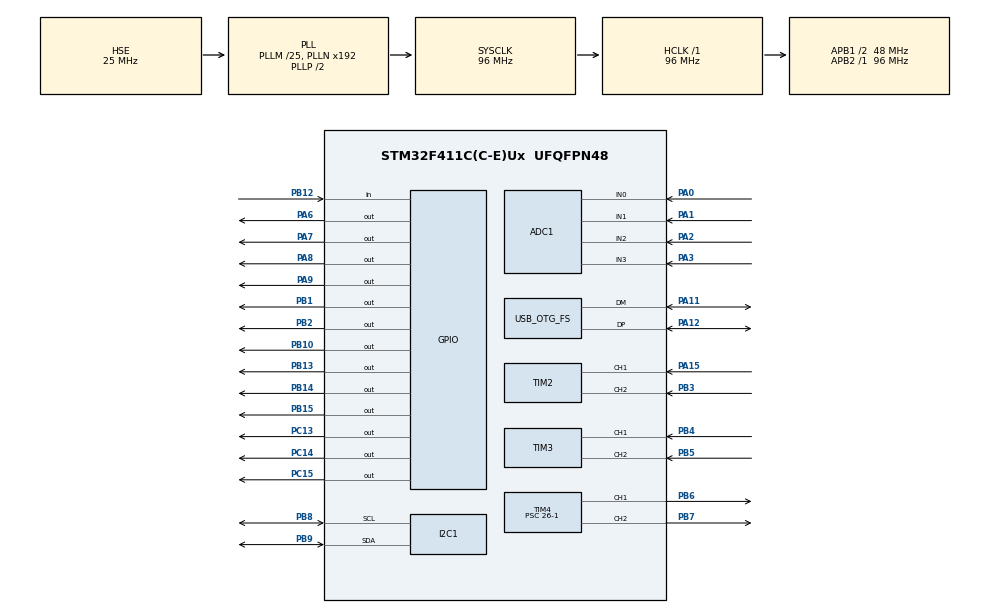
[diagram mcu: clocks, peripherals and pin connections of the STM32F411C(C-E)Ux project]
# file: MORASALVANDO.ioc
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ADC1.Channel-0\#ChannelRegularConversion=ADC_CHANNEL_0
ADC1.Channel-5\#ChannelRegularConversion=ADC_CHANNEL_1
ADC1.Channel-6\#ChannelRegularConversion=ADC_CHANNEL_2
ADC1.Channel-7\#ChannelRegularConversion=ADC_CHANNEL_3
ADC1.ContinuousConvMode=ENABLE
ADC1.InjNumberOfConversion=0
ADC1.NbrOfConversion=4
ADC1.NbrOfConversionFlag=1
ADC1.Rank-0\#ChannelRegularConversion=1
ADC1.Rank-5\#ChannelRegularConversion=2
ADC1.Rank-6\#ChannelRegularConversion=3
ADC1.Rank-7\#ChannelRegularConversion=4
ADC1.SamplingTime-0\#ChannelRegularConversion=ADC_SAMPLETIME_3CYCLES
ADC1.SamplingTime-5\#ChannelRegularConversion=ADC_SAMPLETIME_3CYCLES
ADC1.SamplingTime-6\#ChannelRegularConversion=ADC_SAMPLETIME_3CYCLES
ADC1.SamplingTime-7\#ChannelRegularConversion=ADC_SAMPLETIME_3CYCLES
ADC1.ScanConvMode=ENABLE
ADC1.master=1
Dma.ADC1.0.Direction=DMA_PERIPH_TO_MEMORY
Dma.ADC1.0.FIFOMode=DMA_FIFOMODE_DISABLE
Dma.ADC1.0.Instance=DMA2_Stream0
Dma.ADC1.0.MemDataAlignment=DMA_MDATAALIGN_HALFWORD
Dma.ADC1.0.MemInc=DMA_MINC_ENABLE
Dma.ADC1.0.Mode=DMA_CIRCULAR
Dma.ADC1.0.PeriphDataAlignment=DMA_PDATAALIGN_HALFWORD
Dma.ADC1.0.PeriphInc=DMA_PINC_DISABLE
Dma.ADC1.0.Priority=DMA_PRIORITY_HIGH
Dma.Request0=ADC1
I2C1.I2C_Mode=I2C_Fast
Mcu.Family=STM32F4
Mcu.Name=STM32F411C(C-E)Ux
Mcu.Package=UFQFPN48
Mcu.UserConstants=TIMX,TIM9
NVIC.DMA2_Stream0_IRQn=true\:0\:0\:false\:false\:true\:false\:true\:true
NVIC.OTG_FS_IRQn=true\:0\:0\:false\:false\:true\:true\:true\:true
NVIC.PriorityGroup=NVIC_PRIORITYGROUP_4
NVIC.TIM1_TRG_COM_TIM11_IRQn=true\:0\:0\:false\:false\:true\:true\:true\:true
NVIC.TIM1_UP_TIM10_IRQn=true\:0\:0\:false\:false\:true\:true\:true\:true
PA0-WKUP.Signal=ADCx_IN0
PA1.Signal=ADCx_IN1
PA11.Mode=Device_Only
PA11.Signal=USB_OTG_FS_DM
PA12.Mode=Device_Only
PA12.Signal=USB_OTG_FS_DP
PA13.Mode=Serial_Wire
PA13.Signal=SYS_JTMS-SWDIO
PA14.Mode=Serial_Wire
PA14.Signal=SYS_JTCK-SWCLK
PA15.Signal=S_TIM2_CH1_ETR
PA2.Signal=ADCx_IN2
PA3.Signal=ADCx_IN3
PA6.Signal=GPIO_Output
PA7.Signal=GPIO_Output
PA8.Signal=GPIO_Output
PA9.Signal=GPIO_Output
PB1.Signal=GPIO_Output
PB10.Signal=GPIO_Output
PB12.Signal=GPIO_Input
PB13.Signal=GPIO_Output
PB14.Signal=GPIO_Output
PB15.Signal=GPIO_Output
PB2.Signal=GPIO_Output
PB3.Signal=S_TIM2_CH2
PB4.Signal=S_TIM3_CH1
PB5.Signal=S_TIM3_CH2
PB6.Signal=S_TIM4_CH1
PB7.Signal=S_TIM4_CH2
PB8.Mode=I2C
PB8.Signal=I2C1_SCL
PB9.Mode=I2C
PB9.Signal=I2C1_SDA
PC13-ANTI_TAMP.Signal=GPIO_Output
PC14-OSC32_IN.Signal=GPIO_Output
PC15-OSC32_OUT.Signal=GPIO_Output
PH0\ -\ OSC_IN.Mode=HSE-External-Oscillator
PH0\ -\ OSC_IN.Signal=RCC_OSC_IN
PH1\ -\ OSC_OUT.Mode=HSE-External-Oscillator
PH1\ -\ OSC_OUT.Signal=RCC_OSC_OUT
ProjectManager.HeapSize=0x200
ProjectManager.StackSize=0x400
ProjectManager.TargetToolchain=STM32CubeIDE
RCC.48MHZClocksFreq_Value=48000000
RCC.AHBFreq_Value=96000000
RCC.APB1CLKDivider=RCC_HCLK_DIV2
RCC.APB1Freq_Value=48000000
RCC.APB1TimFreq_Value=96000000
RCC.APB2Freq_Value=96000000
RCC.APB2TimFreq_Value=96000000
RCC.CortexFreq_Value=96000000
RCC.HCLKFreq_Value=96000000
RCC.HSE_VALUE=25000000
RCC.HSI_VALUE=16000000
RCC.LSE_VALUE=32768
RCC.PLLM=25
RCC.SYSCLKFreq_VALUE=96000000
RCC.SYSCLKSource=RCC_SYSCLKSOURCE_PLLCLK
RCC.VCOOutputFreq_Value=192000000
SH.ADCx_IN0.0=ADC1_IN0,IN0
SH.ADCx_IN1.0=ADC1_IN1,IN1
SH.ADCx_IN2.0=ADC1_IN2,IN2
SH.ADCx_IN3.0=ADC1_IN3,IN3
SH.S_TIM2_CH1_ETR.0=TIM2_CH1,Encoder_Interface
SH.S_TIM2_CH2.0=TIM2_CH2,Encoder_Interface
SH.S_TIM3_CH1.0=TIM3_CH1,Encoder_Interface
SH.S_TIM3_CH2.0=TIM3_CH2,Encoder_Interface
SH.S_TIM4_CH1.0=TIM4_CH1,PWM Generation1 CH1
SH.S_TIM4_CH2.0=TIM4_CH2,PWM Generation2 CH2
TIM1.Prescaler=9600-1
TIM10.Prescaler=96-1
TIM11.Period=1000-1
TIM11.Prescaler=96-1
TIM2.EncoderMode=TIM_ENCODERMODE_TI12
TIM2.IC1Filter=15
TIM2.IC1Polarity=TIM_ICPOLARITY_FALLING
TIM2.IC2Filter=15
TIM2.IC2Polarity=TIM_ICPOLARITY_FALLING
TIM3.EncoderMode=TIM_ENCODERMODE_TI12
TIM3.IC1Filter=15
TIM3.IC1Polarity=TIM_ICPOLARITY_FALLING
TIM3.IC2Filter=15
TIM3.IC2Polarity=TIM_ICPOLARITY_FALLING
TIM4.Channel-PWM\ Generation1\ CH1=TIM_CHANNEL_1
TIM4.Channel-PWM\ Generation2\ CH2=TIM_CHANNEL_2
TIM4.Period=100-1
TIM4.Prescaler=26-1
TIM9.Prescaler=96-1
USB_DEVICE.CLASS_NAME_FS=CDC
USB_DEVICE.VirtualMode=Cdc
USB_DEVICE.VirtualModeFS=Cdc_FS
USB_OTG_FS.VirtualMode=Device_Only
VP_TIM10_VS_ClockSourceINT.Mode=Enable_Timer
VP_TIM11_VS_ClockSourceINT.Mode=Enable_Timer
VP_TIM1_VS_ClockSourceINT.Mode=Internal
VP_TIM4_VS_ClockSourceINT.Mode=Internal
VP_TIM9_VS_ClockSourceINT.Mode=Internal
VP_USB_DEVICE_VS_USB_DEVICE_CDC_FS.Mode=CDC_FS
board=custom

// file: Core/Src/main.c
/* USER CODE BEGIN Header */
/**
  ******************************************************************************
  * @file           : main.c
  * @brief          : Main program body
  ******************************************************************************
  * @attention
  *
  * Copyright (c) 2025 STMicroelectronics.
  * All rights reserved.
  *
  * This software is licensed under terms that can be found in the LICENSE file
  * in the root directory of this software component.
  * If no LICENSE file comes with this software, it is provided AS-IS.
  *
  ******************************************************************************
  */
/* USER CODE END Header */
#include "main.h"
#include "usb_device.h"

/* USER CODE BEGIN Includes */

#include "motorDriver.h"
#include "retardos.h"
#include <stdbool.h>
#include "usbd_cdc_if.h"
#include "stm32f4xx_hal.h"
#include "math.h"

#include "mms_odometria.h"
#include "ADC_IR_SENSOR2.h"

/* USER CODE END Includes */

ADC_HandleTypeDef hadc1;
DMA_HandleTypeDef hdma_adc1;

I2C_HandleTypeDef hi2c1;

TIM_HandleTypeDef htim1;
TIM_HandleTypeDef htim2;
TIM_HandleTypeDef htim3;
TIM_HandleTypeDef htim4;
TIM_HandleTypeDef htim9;
TIM_HandleTypeDef htim10;
TIM_HandleTypeDef htim11;

/* USER CODE BEGIN PV */
float DIST_ACUM = 0;
float VEL_FINAL = 0;
float mm_FINAL = 0;
float DIS_ACCE = 0;
float DIS_DESACCE = 0;
float AceleracionGlobal = 0;
float v_desired = 0;

float DIST_ACUM_L = 0;
float VEL_FINAL_L = 0;
float mm_FINAL_L = 0;
float DIS_ACCE_L = 0;
float DIS_DESACCE_L = 0;
float AceleracionGlobal_L = 0;
float v_desired_L = 0;

float velMotores = 0;

//static float v_desired   = 0.0f;

int32_t VELOCIDAD_BOT_REAL;
int32_t pwmTrapecio = 0;

uint32_t canales[4] = {ADC_CHANNEL_0, ADC_CHANNEL_1, ADC_CHANNEL_2, ADC_CHANNEL_3};
GPIO_TypeDef* puertos_led[4] = {GPIOB, GPIOB, GPIOA, GPIOA};
uint16_t pines_led[4] = {GPIO_PIN_15, GPIO_PIN_14, GPIO_PIN_8, GPIO_PIN_9};
uint16_t avgReadings[4];

IR_ConversionResult TRANS_CONVS;

int32_t PUNTOS_X;
int32_t PUNTOS_Y;
int32_t DIS_MOTOR_L;
int32_t DIS_MOTOR_R;
float THETA;
int32_t VEL_MOTOR_L;
int32_t VEL_MOTOR_R;
int32_t VEL_LINEAL;
int32_t VEL_ANGULAR;
int32_t AVANCE_LINEA;
int32_t LEFT_DISTANCE_MM_ACUM;
int32_t RIGHT_DISTANCE_MM_ACUM;

Pose ps;

uint32_t  tiempo=0;

volatile uint16_t adcValue[5] = {0};
char texto [50];

int8_t numDatos=0;
uint8_t RPMEXTRA=0;
 //POSIBLE PROBLEMA FUTURO NO 8 BYTES
uint8_t rpm = 0;
uint16_t RPMX_DIV;
uint16_t Freq;
int16_t SPEEDE;
uint32_t PWM_PM;
uint32_t CHECK_PWM_PM;

//unsigned long DatosRX[]
uint8_t muestra;

volatile uint8_t DatosRX[51];
volatile uint8_t indexRX = 0;
uint8_t datosTX[40];
uint8_t indexTX = 0;
//uint16_t overhead;

uint8_t datosx [40];

volatile int i;
volatile bool bandera1= 0;
volatile bool bandera2= 0;
volatile bool bandera3= 0;
volatile bool bandera4= 0;
volatile bool bandera5= 0;
volatile bool bandera6= 0;

volatile uint8_t TiempoRPM = 0;
volatile uint32_t GIROSX;
volatile uint32_t RPMX;
uint32_t  MMS;
volatile uint32_t TIMING;
volatile uint32_t TFULL;

volatile uint16_t RPM;
volatile uint16_t RPMTOTAL;

volatile int8_t revision;
volatile int32_t A=0;

volatile uint32_t GIROS;
volatile uint32_t TSEC_GIROS;

volatile uint32_t WDOG_TIME; //REVISO QUE LOS TIEMPOS SEAN PERFETOS E IMPOLUTOS ...

uint8_t COMUNICACION[30];
uint8_t pos = 0;//IMPORTANTE NO BORRAR PARTE DEL ARREGLO COMUNICACION Y LA FUNCION FRAGMENTAR BYTE

volatile int16_t pulsosR_temp;
volatile int32_t pulsosR;
volatile int32_t pulsosL;

static int32_t lastCountLeft  = 0;
static int32_t lastCountRight = 0;
int32_t dL;
int32_t dR;
uint32_t DistanciaFinal = 200;

int32_t tryL;
int32_t tryR;

float delta_t_s;

#define PI               3.14159265f
#define WHEEL_RADIUS_MM  15.0f
#define PULSES_PER_REV   1135
#define WHEEL_BASE_MM    80.0f

typedef struct{
	uint8_t inicio_EN;
	uint8_t tamano_EN;
	uint8_t *datos_EN;  //RECORDOR NOMBRE
	uint8_t fin_EN;

}ENVIAPAQUETE;

ENVIAPAQUETE np;

typedef struct{
	uint8_t inicio;
	uint8_t tamano;
	uint8_t *datos;  //changeable
	uint8_t crc;
	uint8_t fin;

}PAQUETE;
PAQUETE pk1;

typedef enum {
    ESTADO_AVANCE_TRAPECIO,
    ESTADO_STOP_INTERMEDIO,
    ESTADO_GIRO_TRAPECIO,
    ESTADO_AVANCE_FINAL,
	ESTADO_STOP_INTERMEDIO_2,

} EstadoMovimiento;

EstadoMovimiento estado_mov = ESTADO_AVANCE_TRAPECIO;

typedef enum{  ///// mi timer pro

    TLED=0,  //TIMER EJEMPLO
	TWDOG,
	TTALK,
	TLED_RED,
/*
	TTALK1,  //TIMER ASOCIADO A LA COMUNICACION.
	TTALK2,  //TIMER ASOCIADO A LA COMUNICACION.
	TTALK3,  //TIMER ASOCIADO A LA COMUNICACION.
	TTALK4,  //TIMER ASOCIADO A LA COMUNICACION.
	TTALK5,  //TIMER ASOCIADO A LA COMUNICACION.
	TTALK6,  //TIMER ASOCIADO A LA COMUNICACION.
*/
	TSPEED,  //changeable
	TTOTAL,

}TIMERS;

volatile uint32_t tim_pro[TTOTAL]; //MIS TIMERS CON ISR PRO
uint32_t timers[TTOTAL]  = {0};  // con esto se nombra a todos todos.
uint8_t hola[] = {0xEE,0xF1};

uint32_t adc_0;
uint32_t adc_1;
uint32_t adc_2;
uint32_t adc_3;
uint32_t adc_4;

uint8_t calcularCRC(uint8_t *datos, uint8_t tam) //el valor de tam cuando llega
{
	uint8_t crc = 0;

		for(int i=0; i<tam; i++)
		{
			crc ^= datos[i];
		}

	return crc;
}

int8_t serializarPaquete(const PAQUETE* paquete, uint8_t *buffer){   //serialize

	int idx =0;

	if(!paquete || !buffer)return -1;

	buffer[idx++] = paquete->inicio;
	buffer[idx++]= paquete->tamano;

		if(paquete->datos && (paquete->tamano>3)){   	//packet of data ;
		  memcpy(&buffer[idx], paquete->datos, (size_t)(paquete->tamano-4));
		  idx = idx + paquete->tamano-4;
		}

	uint8_t ss= (uint8_t)idx;
	buffer[idx++] =calcularCRC(buffer,ss);
	buffer[idx++] =paquete->fin;
	return idx;
}

void EnviarPaquete(uint8_t *dat, uint8_t tam){

	pk1.inicio = 0x77; //Start byte
	pk1.tamano = tam + 4;
	pk1.datos=datosx;

    memcpy(&pk1.datos[0], dat, tam + 4 );

	numDatos = serializarPaquete(&pk1, &datosTX);
	pk1.crc=calcularCRC(datosTX, tam+4);
	pk1.fin =0x12;

	CDC_Transmit_FS(datosTX, numDatos);  ///////////////////////////////////////////aQUI

} //way important to transmit

void ReciboPaquete(const PAQUETE* paquete, uint8_t *pos){

	if(!datosTX[0])return -1;
		if(!datosTX[0]==0xff){

		}
}

typedef enum {

    ESTADO_ADV1_START,
    ESTADO_ADV1_WAIT,

    ESTADO_TURN1_START,
    ESTADO_TURN1_WAIT,

    ESTADO_ADV2_START,
    ESTADO_ADV2_WAIT,

    ESTADO_TURN2_START,
    ESTADO_TURN2_WAIT,

	/////////
    ESTADO_ADV3_START,
    ESTADO_ADV3_WAIT,

    ESTADO_TURN3_START,
    ESTADO_TURN3_WAIT,

///////

    ESTADO_STOP,
    ESTADO_LISTO
} EstadoSeq;

static volatile EstadoSeq estado = ESTADO_ADV1_START;

float trapecio_VD_simple(float avance_odo_real, float mm_desired, float dt, float ACELERATION, float VEL_IN)
{
    VEL_FINAL_L         = VEL_IN;          // velocidad máxima deseada
    AceleracionGlobal_L = ACELERATION;     // aceleración constante
    DIST_ACUM_L          = avance_odo_real; // distancia recorrida hasta ahora
    mm_FINAL_L          = mm_desired;      // distancia total a recorrer

    float DIS_ACCE_L = (VEL_FINAL_L * VEL_FINAL_L) / (2.0f * AceleracionGlobal_L);

    float DIS_DESACCE_L = mm_FINAL_L - DIS_ACCE_L;

    if (DIS_DESACCE_L < DIS_ACCE_L) {
        DIS_DESACCE_L = DIS_ACCE_L;
    }

    if (DIST_ACUM_L < DIS_ACCE_L) {

        v_desired_L += AceleracionGlobal_L * dt;
        if (v_desired_L > VEL_FINAL_L) {
            v_desired_L = VEL_FINAL_L;
        }
    }
    else if (DIST_ACUM_L < DIS_DESACCE_L) {

        v_desired_L = VEL_FINAL_L;
    }
    else {

        v_desired_L -= AceleracionGlobal_L * dt;
        if (v_desired_L < 0.0f) {
            v_desired_L = 0.0f;
        }
    }

    return v_desired_L;
}

/*
float trapecio_VD_simple_angulo(float avance_ang_real, float ang_desired, float dt, float accel, float vel_max)
{
    // signo del giro (+1 o -1)
    int signo = (ang_desired >= 0.0f) ? 1 : -1;

    float ang_total_abs = fabsf(ang_desired);
    float ang_acum_abs  = fabsf(avance_ang_real);

    if (ang_acum_abs >= ang_total_abs) {
        return 0.0f;
    }

    float v_acel  = sqrtf(2.0f * accel * ang_acum_abs);
    float v_decel = sqrtf(2.0f * accel * (ang_total_abs - ang_acum_abs));

    float v_abs = v_acel;
    if (v_abs > v_decel)  v_abs = v_decel;
    if (v_abs > vel_max)  v_abs = vel_max;

    float v_min = accel * dt;
    if (v_abs < v_min)    v_abs = v_min;

    return (signo * v_abs)*9;
}  */

float trapecio_VD_simple_angulo(float avance_ang_real,float ang_desired,float dt,float accel,float vel_max,float v_start) {

    int signo = (ang_desired >= 0.0f) ? 1 : -1;

    float D = fabsf(ang_desired);
    float x = fabsf(avance_ang_real);

    v_desired = 0.0f;
    static float last_D     = 0.0f;

    if (D != last_D) {
        v_desired = 0.0f;
        last_D    = D;
    }

    if (x >= D) {
        v_desired = 0.0f;
        return 0.0f;
    }

    float v_theo_acel  = sqrtf(2.0f * accel * x);
    float v_theo_decel = sqrtf(2.0f * accel * (D - x));
    float v_theo       = v_theo_acel;
    if (v_theo > v_theo_decel) v_theo = v_theo_decel;
    if (v_theo > vel_max)      v_theo = vel_max;

    v_desired += accel * dt;

    if (v_desired > v_theo)    v_desired = v_theo;
    if (v_desired < v_start)   v_desired = v_start;

    return (signo * v_desired)*3;
}

int32_t Pwm_By_Speed_normal(float vars) {

		/*       FUNCION QUE DESCRIBE ACELERACION
		 *               y = 0,1641x + 10
		 */
	    int16_t speed = (int16_t) vars;
	    int8_t signo = (speed < 0) ? -1 : 1;
	    int16_t magnitud = (speed < 0) ? -speed : speed;

	    	float y = ((0.1641f * magnitud) + 6.0f);
	    	int32_t PerPWM = (int32_t)roundf(y);
	    	PerPWM *= signo;

	    	if (PerPWM > 100) {
	    	    PerPWM = 100;
	    	}
	    	else if (PerPWM < -100) {
	    	    PerPWM = -100;
	    	}
	    	else if (PerPWM >= 0 && PerPWM <= 4) {
	    	    PerPWM = 0;
	    	}

	    return PerPWM;
	}

uint8_t fragmentacion(uint32_t dato, uint8_t frag_array[], uint8_t posicion) {

	/* MI FUNCION LLENA HACIA LA DERECHA DESDE LA POSICION QUE UNO DIGA LLENA 1 BYTE
	 *  POSICION DEPENDE DE MI Y ARREGLO Y DATO SON LOS QUE UNO QUIERE COMUNICAR PARA LA FUNCION ENVIARPAQUETE();
	 *  ADEMAS ORGANIZA AUTOMATICAMENTE.
	 */
	uint8_t i = 0;
    while (dato > 255) {
        frag_array[posicion + i] = 0xFF;
        dato -= 255;
        i++;
    }

    frag_array[posicion + i] = dato & 0xFF;
    int8_t NFRAG = i+1;
    return NFRAG; //  REVISAR NUMERO DE FRAGMENTACIONES EN VIVO...
}

////////////////////     AQUI NO DEPENDO DE  NADIE   //////////////

uint16_t VSPEED_QT(uint8_t* DatosRX) {

    int16_t magnitud = (int16_t)((DatosRX[4] << 8) | DatosRX[5]);
    int8_t signo = (DatosRX[3] == 0x01) ? -1 : 1;   // 0x01 = negativo  y 0x00 = positivo //AGREGO SIGNO
    return magnitud * signo;
}

int32_t Pwm_By_Speed(void) {

		/*       FUNCION QUE DESCRIBE ACELERACION
		 *               y = 0,1641x + 10
		 */
	    int16_t speed = VSPEED_QT(DatosRX);
	    int8_t signo = (speed < 0) ? -1 : 1;
	    int16_t magnitud = (speed < 0) ? -speed : speed;

	    	float y = ((0.1641f * magnitud) + 7.7f);
	    	int32_t PerPWM = (int32_t)roundf(y);
	    	PerPWM *= signo;

	    	if (PerPWM > 100) {
	    	    PerPWM = 100;
	    	}
	    	else if (PerPWM < -100) {
	    	    PerPWM = -100;
	    	}
	    	else if (PerPWM >= 0 && PerPWM <= 4) {
	    	    PerPWM = 0;
	    	}

	    return PerPWM;
	}

/* USER CODE END PV */

void SystemClock_Config(void);
static void MX_GPIO_Init(void);
static void MX_DMA_Init(void);
static void MX_I2C1_Init(void);
static void MX_TIM2_Init(void);
static void MX_TIM3_Init(void);
static void MX_TIM9_Init(void);
static void MX_TIM4_Init(void);
static void MX_ADC1_Init(void);
static void MX_TIM1_Init(void);
static void MX_TIM11_Init(void);
static void MX_TIM10_Init(void);

int main(void)
{

  /* MCU Configuration--------------------------------------------------------*/

  /* Reset of all peripherals, Initializes the Flash interface and the Systick. */
  HAL_Init();

  /* Configure the system clock */
  SystemClock_Config();

  /* Initialize all configured peripherals */
  MX_GPIO_Init();
  MX_DMA_Init();
  MX_I2C1_Init();
  MX_TIM2_Init();
  MX_USB_DEVICE_Init();
  MX_TIM3_Init();
  MX_TIM9_Init();
  MX_TIM4_Init();
  MX_ADC1_Init();
  MX_TIM1_Init();
  MX_TIM11_Init();
  MX_TIM10_Init();
  /* USER CODE BEGIN 2 */

  motoresInit(&htim4, TIM_CHANNEL_1, TIM_CHANNEL_2); //MOTORES

  HAL_TIM_Base_Start_IT(&htim11);  //ESTOY TRABAJANDO ISR PARA TIM.  :)
  HAL_TIM_Base_Start(&htim9); //ESTO PUDE CAUSAR DESFASE CREO
  HAL_TIM_Base_Start(&htim1);  // SI SE COMPLICA COLOCAR TIMER5 JAJA 9600/10 = MS
  HAL_TIM_Base_Start(&htim10);

  CONVERTER_INIT(&hadc1, &htim10, canales, puertos_led, pines_led);

  odo_init_reset(&ps);

  delay_us_tim_init();

  /* USER CODE END 2 */

  /* Infinite loop */
  /* USER CODE BEGIN WHILE */

HAL_TIM_Encoder_Start(&htim2, TIM_CHANNEL_ALL);  //importante por encoder mode t1, t2.
HAL_TIM_Encoder_Start(&htim3, TIM_CHANNEL_ALL);
HAL_ADC_Start_DMA(&hadc1, (uint32_t*)adcValue ,5);

   __HAL_TIM_SET_COUNTER(&htim1,0);  ////BORRAR EN UN FUTURO PERO RECTIFICAR QUE NO HACE NADA... INMEDIATAMENTE...

////////////////////BLOQQUE PARA INCICIAR///////////////
    while ( HAL_GPIO_ReadPin(GPIOB, GPIO_PIN_12) == GPIO_PIN_SET )
   {

   }
    HAL_GPIO_WritePin(GPIOC, GPIO_PIN_15,1);
    HAL_Delay(500);
    HAL_GPIO_WritePin(GPIOC, GPIO_PIN_15,0);
    HAL_Delay(2000);

  while (1)
  {

	  ReadAndAverageSensors(avgReadings, 10);
	  TRANS_CONVS = CONV_Y_TRANS();

	      	  pulsosL = (__HAL_TIM_GET_COUNTER(&htim2)); //DEJAR QUIETO
	      	  pulsosR_temp = (__HAL_TIM_GET_COUNTER(&htim3));
	  	  	  pulsosR = (int32_t) pulsosR_temp;  //DEJAR QUIETO*/

	  if (tim_pro[TWDOG] == 0) {

		  dL = pulsosL - lastCountLeft;
		  dR = pulsosR - lastCountRight;
		  lastCountLeft  = pulsosL;
		  lastCountRight = pulsosR;
	      actualizar_odometria(&ps, dL, dR, 0.01f);

	      tim_pro[TWDOG] = 10;
	  }

 /////////////////////ODOMETRIA DEJAR QUIETO, CONFIGURAR DESDE AQUI////////////////////////

	  /*
	   *
	  if (tim_pro[TSPEED] == 0) {

		  trapecio_VD_simple(avance_odo_real, mm_desired, dt, ACELERATION, VEL_IN);
		 velMotores = trapecio_VD_simple((float)ps.avanceLineal, 300, 0.011, 10, 150);

		 trapecio_VD_simple_angulo(avance_ang_real, ang_desired, dt, accel, vel_max);

		  velMotoresR = trapecio_VD_simple_angulo(ps.theta, -3, 0.011, 100, 100);
	  velMotores = trapecio_VD_simple_angulo(ps.theta, 3.5, 0.011, 400, 400, 70);

	  pwmTrapecio = Pwm_By_Speed_normal(velMotores);

	  	  tim_pro[TSPEED] = 11;
	  }

	    motores((pwmTrapecio),(-pwmTrapecio));      */

//HAL_GPIO_WritePin(GPIOB, GPIO_PIN_1, 1);

	  if (tim_pro[TSPEED] == 0) {
	      tim_pro[TSPEED] = 11;

	      switch (estado_mov) {

	          case ESTADO_AVANCE_TRAPECIO: {
	              float vel = trapecio_VD_simple(ps.avanceLineal, 20000, 0.011, 10, 150);
	              int pwm = Pwm_By_Speed_normal(vel);
	              motores(pwm, pwm);

	              if (TRANS_CONVS.DIST4 < 50 ) {
	                  motores(0, 0);  // STOP intermedio
	                  estado_mov = ESTADO_STOP_INTERMEDIO;
	              }
	              break;
	          }

	          case ESTADO_STOP_INTERMEDIO: {
	              estado_mov = ESTADO_GIRO_TRAPECIO;
	              ps.theta=0;
	              break;
	          }

	          case ESTADO_GIRO_TRAPECIO: {
	              float vel_giro = trapecio_VD_simple_angulo(ps.theta, 3.9, 0.011, 400, 400, 100);
	              int pwm = Pwm_By_Speed_normal(fabsf(vel_giro));
	              motores(pwm * (vel_giro > 0 ? 1 : -1), -pwm * (vel_giro > 0 ? 1 : -1));  //posible error....

	              if (vel_giro == 0.0f) {
	                  estado_mov = ESTADO_AVANCE_FINAL;
	              }
	              break;
	          }

	          case ESTADO_AVANCE_FINAL: {
	              float vel = trapecio_VD_simple(ps.avanceLineal, 20000, 0.011, 100, 180);
	              int pwm = Pwm_By_Speed_normal(vel);
	              motores(pwm, pwm);

	              if (TRANS_CONVS.DIST4 < 100) {

                      HAL_GPIO_TogglePin(GPIOB, GPIO_PIN_1);
	                  motores(0, 0);
	                  estado_mov = ESTADO_STOP_INTERMEDIO_2;
	              }

	              break;
	          }

	          case ESTADO_STOP_INTERMEDIO_2: {

	              ps.theta=0;
	              estado_mov = ESTADO_GIRO_TRAPECIO;

	              break;
	          }

	      }
	  }

	  VELOCIDAD_BOT_REAL= velMotores;

      if(tim_pro[TLED]==0){
    	  tim_pro[TLED]=100;     //MIRAR CON OSCILOSCOPIO...
    	  HAL_GPIO_TogglePin(GPIOC, GPIO_PIN_13);
      }

      PUNTOS_X               = ps.x;
      PUNTOS_Y               = ps.y;
      DIS_MOTOR_L            = ps.left_distance_mm;
      DIS_MOTOR_R            = ps.right_distance_mm;
      THETA                  = ps.theta;
      VEL_MOTOR_L            = ps.velMotorL;
      VEL_MOTOR_R            = ps.velMotorR;
      VEL_LINEAL             = ps.velLineal;
      VEL_ANGULAR            = ps.velAngular;
      AVANCE_LINEA           = ps.avanceLineal;   //ESTO SE SUPONE ES LO QUE AVANZO
      LEFT_DISTANCE_MM_ACUM  = ps.left_distance_mm_acum;
      RIGHT_DISTANCE_MM_ACUM = ps.right_distance_mm_acum;

      MMS = VEL_MOTOR_R;

      fragmentacion(MMS, COMUNICACION, 2);
      fragmentacion(VELOCIDAD_BOT_REAL, COMUNICACION, 5);
      fragmentacion(TRANS_CONVS.DIST1, COMUNICACION, 8);
      fragmentacion(TRANS_CONVS.DIST2, COMUNICACION, 9);
      fragmentacion(TRANS_CONVS.DIST3, COMUNICACION, 10);
      fragmentacion(TRANS_CONVS.DIST4, COMUNICACION, 11);

	  if(tim_pro[TTALK]==0){
	   	  	  tim_pro[TTALK]=100;

	   		  //sprintf (texto, "%5u %5u %5u %5u %5u \n", adcValue[0],adcValue[1],adcValue[2],adcValue[3],adcValue[4]);
	   		  //CDC_Transmit_FS(texto, strlen(texto));  //

		 EnviarPaquete(COMUNICACION, 20);

	  }

	  /*  switch(DatosRX[2])
	  {

	  case 0xA1: //PWM_PM = Pwm_By_Speed(); motores(PWM_PM,0);
		  break;

	  case 0x00: motores(0,0); // CHECK_PWM_PM = 0;
		  break;

	  case 0xA2: motores(-80,0);
		  break;

	  }
	    //  __HAL_TIM_SET_COUNTER(&htim1, 0);
      */

	  	  SPEEDE = VSPEED_QT(DatosRX);

/*
	  RPM = ObtenerRPM();
	  Freq = W_frecuencia();
	  MMS =  VELINEAL();

	  revision = fragmentacion(RPM, COMUNICACION, 0);  //FUNCION FRAGMENTACION LLENA A LA DERECHA
	  fragmentacion(MMS, COMUNICACION, 2);
	  fragmentacion(Freq, COMUNICACION, 5);   */
	 // EnviarPaquete(COMUNICACION, 8);

  /////////////IMPORTANTE NO BORRRARRRR/////////////////
	  	  /*
	  if(tim_pro[TTALK]==0){
	   	  	  tim_pro[TTALK]=500;

		//  EnviarPaquete(COMUNICACION, 8);

	  }*/

    	  ////////////////////LAB ANTERIOR/////////////////////

    	//  WDOG_TIME = __HAL_TIM_GET_COUNTER(&htim11)/10; //OBTENGO TIEMPO ESPECIFICO EN MILISEGUNDOS.

    	  /*
    	  sprintf(texto, "%5lu %5lu\n", MMS,TFULL);
    	  CDC_Transmit_FS(texto, strlen(texto));
    	  		  WDOG_TIME=__HAL_TIM_SET_COUNTER(&htim11,0);
    	  */

    /* USER CODE END WHILE */

  }
}

void SystemClock_Config(void)
{
  RCC_OscInitTypeDef RCC_OscInitStruct = {0};
  RCC_ClkInitTypeDef RCC_ClkInitStruct = {0};

  /** Configure the main internal regulator output voltage
  */
  __HAL_RCC_PWR_CLK_ENABLE();
  __HAL_PWR_VOLTAGESCALING_CONFIG(PWR_REGULATOR_VOLTAGE_SCALE1);

  /** Initializes the RCC Oscillators according to the specified parameters
  * in the RCC_OscInitTypeDef structure.
  */
  RCC_OscInitStruct.OscillatorType = RCC_OSCILLATORTYPE_HSE;
  RCC_OscInitStruct.HSEState = RCC_HSE_ON;
  RCC_OscInitStruct.PLL.PLLState = RCC_PLL_ON;
  RCC_OscInitStruct.PLL.PLLSource = RCC_PLLSOURCE_HSE;
  RCC_OscInitStruct.PLL.PLLM = 25;
  RCC_OscInitStruct.PLL.PLLN = 192;
  RCC_OscInitStruct.PLL.PLLP = RCC_PLLP_DIV2;
  RCC_OscInitStruct.PLL.PLLQ = 4;
  if (HAL_RCC_OscConfig(&RCC_OscInitStruct) != HAL_OK)
  {
    Error_Handler();
  }

  /** Initializes the CPU, AHB and APB buses clocks
  */
  RCC_ClkInitStruct.ClockType = RCC_CLOCKTYPE_HCLK|RCC_CLOCKTYPE_SYSCLK
                              |RCC_CLOCKTYPE_PCLK1|RCC_CLOCKTYPE_PCLK2;
  RCC_ClkInitStruct.SYSCLKSource = RCC_SYSCLKSOURCE_PLLCLK;
  RCC_ClkInitStruct.AHBCLKDivider = RCC_SYSCLK_DIV1;
  RCC_ClkInitStruct.APB1CLKDivider = RCC_HCLK_DIV2;
  RCC_ClkInitStruct.APB2CLKDivider = RCC_HCLK_DIV1;

  if (HAL_RCC_ClockConfig(&RCC_ClkInitStruct, FLASH_LATENCY_3) != HAL_OK)
  {
    Error_Handler();
  }
}

static void MX_ADC1_Init(void)
{

  ADC_ChannelConfTypeDef sConfig = {0};

  /** Configure the global features of the ADC (Clock, Resolution, Data Alignment and number of conversion)
  */
  hadc1.Instance = ADC1;
  hadc1.Init.ClockPrescaler = ADC_CLOCK_SYNC_PCLK_DIV4;
  hadc1.Init.Resolution = ADC_RESOLUTION_12B;
  hadc1.Init.ScanConvMode = ENABLE;
  hadc1.Init.ContinuousConvMode = ENABLE;
  hadc1.Init.DiscontinuousConvMode = DISABLE;
  hadc1.Init.ExternalTrigConvEdge = ADC_EXTERNALTRIGCONVEDGE_NONE;
  hadc1.Init.ExternalTrigConv = ADC_SOFTWARE_START;
  hadc1.Init.DataAlign = ADC_DATAALIGN_RIGHT;
  hadc1.Init.NbrOfConversion = 4;
  hadc1.Init.DMAContinuousRequests = DISABLE;
  hadc1.Init.EOCSelection = ADC_EOC_SINGLE_CONV;
  if (HAL_ADC_Init(&hadc1) != HAL_OK)
  {
    Error_Handler();
  }

  /** Configure for the selected ADC regular channel its corresponding rank in the sequencer and its sample time.
  */
  sConfig.Channel = ADC_CHANNEL_0;
  sConfig.Rank = 1;
  sConfig.SamplingTime = ADC_SAMPLETIME_3CYCLES;
  if (HAL_ADC_ConfigChannel(&hadc1, &sConfig) != HAL_OK)
  {
    Error_Handler();
  }

  /** Configure for the selected ADC regular channel its corresponding rank in the sequencer and its sample time.
  */
  sConfig.Channel = ADC_CHANNEL_1;
  sConfig.Rank = 2;
  if (HAL_ADC_ConfigChannel(&hadc1, &sConfig) != HAL_OK)
  {
    Error_Handler();
  }

  /** Configure for the selected ADC regular channel its corresponding rank in the sequencer and its sample time.
  */
  sConfig.Channel = ADC_CHANNEL_2;
  sConfig.Rank = 3;
  if (HAL_ADC_ConfigChannel(&hadc1, &sConfig) != HAL_OK)
  {
    Error_Handler();
  }

  /** Configure for the selected ADC regular channel its corresponding rank in the sequencer and its sample time.
  */
  sConfig.Channel = ADC_CHANNEL_3;
  sConfig.Rank = 4;
  if (HAL_ADC_ConfigChannel(&hadc1, &sConfig) != HAL_OK)
  {
    Error_Handler();
  }

}

static void MX_I2C1_Init(void)
{

  hi2c1.Instance = I2C1;
  hi2c1.Init.ClockSpeed = 400000;
  hi2c1.Init.DutyCycle = I2C_DUTYCYCLE_2;
  hi2c1.Init.OwnAddress1 = 0;
  hi2c1.Init.AddressingMode = I2C_ADDRESSINGMODE_7BIT;
  hi2c1.Init.DualAddressMode = I2C_DUALADDRESS_DISABLE;
  hi2c1.Init.OwnAddress2 = 0;
  hi2c1.Init.GeneralCallMode = I2C_GENERALCALL_DISABLE;
  hi2c1.Init.NoStretchMode = I2C_NOSTRETCH_DISABLE;
  if (HAL_I2C_Init(&hi2c1) != HAL_OK)
  {
    Error_Handler();
  }

}

static void MX_TIM1_Init(void)
{

  TIM_ClockConfigTypeDef sClockSourceConfig = {0};
  TIM_MasterConfigTypeDef sMasterConfig = {0};

  htim1.Instance = TIM1;
  htim1.Init.Prescaler = 9600-1;
  htim1.Init.CounterMode = TIM_COUNTERMODE_UP;
  htim1.Init.Period = 65535;
  htim1.Init.ClockDivision = TIM_CLOCKDIVISION_DIV1;
  htim1.Init.RepetitionCounter = 0;
  htim1.Init.AutoReloadPreload = TIM_AUTORELOAD_PRELOAD_DISABLE;
  if (HAL_TIM_Base_Init(&htim1) != HAL_OK)
  {
    Error_Handler();
  }
  sClockSourceConfig.ClockSource = TIM_CLOCKSOURCE_INTERNAL;
  if (HAL_TIM_ConfigClockSource(&htim1, &sClockSourceConfig) != HAL_OK)
  {
    Error_Handler();
  }
  sMasterConfig.MasterOutputTrigger = TIM_TRGO_RESET;
  sMasterConfig.MasterSlaveMode = TIM_MASTERSLAVEMODE_DISABLE;
  if (HAL_TIMEx_MasterConfigSynchronization(&htim1, &sMasterConfig) != HAL_OK)
  {
    Error_Handler();
  }

}

static void MX_TIM2_Init(void)
{

  TIM_Encoder_InitTypeDef sConfig = {0};
  TIM_MasterConfigTypeDef sMasterConfig = {0};

  htim2.Instance = TIM2;
  htim2.Init.Prescaler = 0;
  htim2.Init.CounterMode = TIM_COUNTERMODE_UP;
  htim2.Init.Period = 4294967295;
  htim2.Init.ClockDivision = TIM_CLOCKDIVISION_DIV1;
  htim2.Init.AutoReloadPreload = TIM_AUTORELOAD_PRELOAD_DISABLE;
  sConfig.EncoderMode = TIM_ENCODERMODE_TI12;
  sConfig.IC1Polarity = TIM_ICPOLARITY_FALLING;
  sConfig.IC1Selection = TIM_ICSELECTION_DIRECTTI;
  sConfig.IC1Prescaler = TIM_ICPSC_DIV1;
  sConfig.IC1Filter = 15;
  sConfig.IC2Polarity = TIM_ICPOLARITY_FALLING;
  sConfig.IC2Selection = TIM_ICSELECTION_DIRECTTI;
  sConfig.IC2Prescaler = TIM_ICPSC_DIV1;
  sConfig.IC2Filter = 15;
  if (HAL_TIM_Encoder_Init(&htim2, &sConfig) != HAL_OK)
  {
    Error_Handler();
  }
  sMasterConfig.MasterOutputTrigger = TIM_TRGO_RESET;
  sMasterConfig.MasterSlaveMode = TIM_MASTERSLAVEMODE_DISABLE;
  if (HAL_TIMEx_MasterConfigSynchronization(&htim2, &sMasterConfig) != HAL_OK)
  {
    Error_Handler();
  }

}

static void MX_TIM3_Init(void)
{

  TIM_Encoder_InitTypeDef sConfig = {0};
  TIM_MasterConfigTypeDef sMasterConfig = {0};

  htim3.Instance = TIM3;
  htim3.Init.Prescaler = 0;
  htim3.Init.CounterMode = TIM_COUNTERMODE_UP;
  htim3.Init.Period = 65535;
  htim3.Init.ClockDivision = TIM_CLOCKDIVISION_DIV1;
  htim3.Init.AutoReloadPreload = TIM_AUTORELOAD_PRELOAD_DISABLE;
  sConfig.EncoderMode = TIM_ENCODERMODE_TI12;
  sConfig.IC1Polarity = TIM_ICPOLARITY_FALLING;
  sConfig.IC1Selection = TIM_ICSELECTION_DIRECTTI;
  sConfig.IC1Prescaler = TIM_ICPSC_DIV1;
  sConfig.IC1Filter = 15;
  sConfig.IC2Polarity = TIM_ICPOLARITY_FALLING;
  sConfig.IC2Selection = TIM_ICSELECTION_DIRECTTI;
  sConfig.IC2Prescaler = TIM_ICPSC_DIV1;
  sConfig.IC2Filter = 15;
  if (HAL_TIM_Encoder_Init(&htim3, &sConfig) != HAL_OK)
  {
    Error_Handler();
  }
  sMasterConfig.MasterOutputTrigger = TIM_TRGO_RESET;
  sMasterConfig.MasterSlaveMode = TIM_MASTERSLAVEMODE_DISABLE;
  if (HAL_TIMEx_MasterConfigSynchronization(&htim3, &sMasterConfig) != HAL_OK)
  {
    Error_Handler();
  }

}

static void MX_TIM4_Init(void)
{

  TIM_ClockConfigTypeDef sClockSourceConfig = {0};
  TIM_MasterConfigTypeDef sMasterConfig = {0};
  TIM_OC_InitTypeDef sConfigOC = {0};

  htim4.Instance = TIM4;
  htim4.Init.Prescaler = 26-1;
  htim4.Init.CounterMode = TIM_COUNTERMODE_UP;
  htim4.Init.Period = 100-1;
  htim4.Init.ClockDivision = TIM_CLOCKDIVISION_DIV1;
  htim4.Init.AutoReloadPreload = TIM_AUTORELOAD_PRELOAD_DISABLE;
  if (HAL_TIM_Base_Init(&htim4) != HAL_OK)
  {
    Error_Handler();
  }
  sClockSourceConfig.ClockSource = TIM_CLOCKSOURCE_INTERNAL;
  if (HAL_TIM_ConfigClockSource(&htim4, &sClockSourceConfig) != HAL_OK)
  {
    Error_Handler();
  }
  if (HAL_TIM_PWM_Init(&htim4) != HAL_OK)
  {
    Error_Handler();
  }
  sMasterConfig.MasterOutputTrigger = TIM_TRGO_RESET;
  sMasterConfig.MasterSlaveMode = TIM_MASTERSLAVEMODE_DISABLE;
  if (HAL_TIMEx_MasterConfigSynchronization(&htim4, &sMasterConfig) != HAL_OK)
  {
    Error_Handler();
  }
  sConfigOC.OCMode = TIM_OCMODE_PWM1;
  sConfigOC.Pulse = 0;
  sConfigOC.OCPolarity = TIM_OCPOLARITY_HIGH;
  sConfigOC.OCFastMode = TIM_OCFAST_DISABLE;
  if (HAL_TIM_PWM_ConfigChannel(&htim4, &sConfigOC, TIM_CHANNEL_1) != HAL_OK)
  {
    Error_Handler();
  }
  if (HAL_TIM_PWM_ConfigChannel(&htim4, &sConfigOC, TIM_CHANNEL_2) != HAL_OK)
  {
    Error_Handler();
  }
  HAL_TIM_MspPostInit(&htim4);

}

static void MX_TIM9_Init(void)
{

  TIM_ClockConfigTypeDef sClockSourceConfig = {0};

  htim9.Instance = TIM9;
  htim9.Init.Prescaler = 96-1;
  htim9.Init.CounterMode = TIM_COUNTERMODE_UP;
  htim9.Init.Period = 65535;
  htim9.Init.ClockDivision = TIM_CLOCKDIVISION_DIV1;
  htim9.Init.AutoReloadPreload = TIM_AUTORELOAD_PRELOAD_DISABLE;
  if (HAL_TIM_Base_Init(&htim9) != HAL_OK)
  {
    Error_Handler();
  }
  sClockSourceConfig.ClockSource = TIM_CLOCKSOURCE_INTERNAL;
  if (HAL_TIM_ConfigClockSource(&htim9, &sClockSourceConfig) != HAL_OK)
  {
    Error_Handler();
  }

}

static void MX_TIM10_Init(void)
{

  htim10.Instance = TIM10;
  htim10.Init.Prescaler = 96-1;
  htim10.Init.CounterMode = TIM_COUNTERMODE_UP;
  htim10.Init.Period = 65535;
  htim10.Init.ClockDivision = TIM_CLOCKDIVISION_DIV1;
  htim10.Init.AutoReloadPreload = TIM_AUTORELOAD_PRELOAD_DISABLE;
  if (HAL_TIM_Base_Init(&htim10) != HAL_OK)
  {
    Error_Handler();
  }

}

static void MX_TIM11_Init(void)
{

  htim11.Instance = TIM11;
  htim11.Init.Prescaler = 96-1;
  htim11.Init.CounterMode = TIM_COUNTERMODE_UP;
  htim11.Init.Period = 1000-1;
  htim11.Init.ClockDivision = TIM_CLOCKDIVISION_DIV1;
  htim11.Init.AutoReloadPreload = TIM_AUTORELOAD_PRELOAD_DISABLE;
  if (HAL_TIM_Base_Init(&htim11) != HAL_OK)
  {
    Error_Handler();
  }

}

static void MX_DMA_Init(void)
{

  /* DMA controller clock enable */
  __HAL_RCC_DMA2_CLK_ENABLE();

  /* DMA interrupt init */
  /* DMA2_Stream0_IRQn interrupt configuration */
  HAL_NVIC_SetPriority(DMA2_Stream0_IRQn, 0, 0);
  HAL_NVIC_EnableIRQ(DMA2_Stream0_IRQn);

}

static void MX_GPIO_Init(void)
{
  GPIO_InitTypeDef GPIO_InitStruct = {0};

  /* GPIO Ports Clock Enable */
  __HAL_RCC_GPIOC_CLK_ENABLE();
  __HAL_RCC_GPIOH_CLK_ENABLE();
  __HAL_RCC_GPIOA_CLK_ENABLE();
  __HAL_RCC_GPIOB_CLK_ENABLE();

  /*Configure GPIO pin Output Level */
  HAL_GPIO_WritePin(GPIOC, GPIO_PIN_13|GPIO_PIN_14|GPIO_PIN_15, GPIO_PIN_RESET);

  /*Configure GPIO pin Output Level */
  HAL_GPIO_WritePin(GPIOA, GPIO_PIN_6|GPIO_PIN_7|GPIO_PIN_8|GPIO_PIN_9, GPIO_PIN_RESET);

  /*Configure GPIO pin Output Level */
  HAL_GPIO_WritePin(GPIOB, GPIO_PIN_1|GPIO_PIN_2|GPIO_PIN_10|GPIO_PIN_13
                          |GPIO_PIN_14|GPIO_PIN_15, GPIO_PIN_RESET);

  /*Configure GPIO pins : PC13 PC14 PC15 */
  GPIO_InitStruct.Pin = GPIO_PIN_13|GPIO_PIN_14|GPIO_PIN_15;
  GPIO_InitStruct.Mode = GPIO_MODE_OUTPUT_PP;
  GPIO_InitStruct.Pull = GPIO_NOPULL;
  GPIO_InitStruct.Speed = GPIO_SPEED_FREQ_LOW;
  HAL_GPIO_Init(GPIOC, &GPIO_InitStruct);

  /*Configure GPIO pins : PA6 PA7 PA8 PA9 */
  GPIO_InitStruct.Pin = GPIO_PIN_6|GPIO_PIN_7|GPIO_PIN_8|GPIO_PIN_9;
  GPIO_InitStruct.Mode = GPIO_MODE_OUTPUT_PP;
  GPIO_InitStruct.Pull = GPIO_NOPULL;
  GPIO_InitStruct.Speed = GPIO_SPEED_FREQ_LOW;
  HAL_GPIO_Init(GPIOA, &GPIO_InitStruct);

  /*Configure GPIO pins : PB1 PB2 PB10 PB13
                           PB14 PB15 */
  GPIO_InitStruct.Pin = GPIO_PIN_1|GPIO_PIN_2|GPIO_PIN_10|GPIO_PIN_13
                          |GPIO_PIN_14|GPIO_PIN_15;
  GPIO_InitStruct.Mode = GPIO_MODE_OUTPUT_PP;
  GPIO_InitStruct.Pull = GPIO_NOPULL;
  GPIO_InitStruct.Speed = GPIO_SPEED_FREQ_LOW;
  HAL_GPIO_Init(GPIOB, &GPIO_InitStruct);

  /*Configure GPIO pin : PB12 */
  GPIO_InitStruct.Pin = GPIO_PIN_12;
  GPIO_InitStruct.Mode = GPIO_MODE_INPUT;
  GPIO_InitStruct.Pull = GPIO_NOPULL;
  HAL_GPIO_Init(GPIOB, &GPIO_InitStruct);

}

/* USER CODE BEGIN 4 */

void HAL_ADC_ConvCpltCallback(ADC_HandleTypeDef *hadc)
{
	HAL_ADC_Start_DMA(&hadc1, adcValue,5);
}

void HAL_TIM_PeriodElapsedCallback(TIM_HandleTypeDef *htim)
{
  //  static uint16_t ms_counter = 0; declarado arriba

    if (htim->Instance == TIM11) {

        for (uint16_t i = 0; i < TTOTAL; i++) {
            if (tim_pro[i] != 0) {
                tim_pro[i]--;
            }
        }

    }

}

void CDC_ReceiveCallBack(uint8_t* Buf, uint32_t Len){
	memcpy(DatosRX,Buf,Len);
	indexRX = Len;
}

/* USER CODE END 4 */

void Error_Handler(void)
{
  __disable_irq();
  while (1)
  {
  }
}
